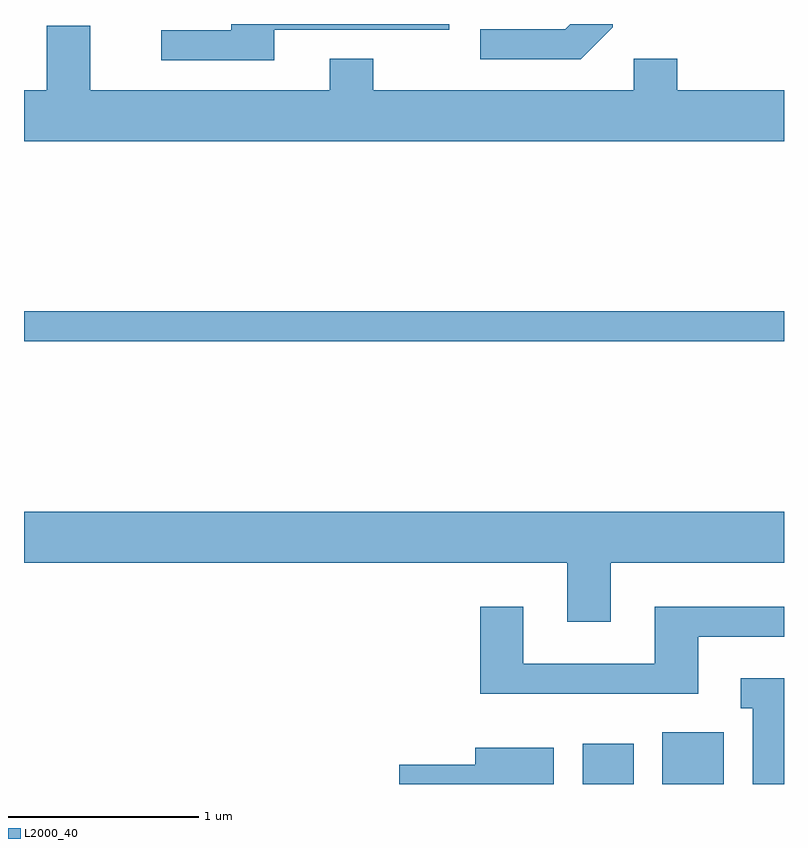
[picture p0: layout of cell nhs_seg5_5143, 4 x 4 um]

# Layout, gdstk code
import gdstk
lib = gdstk.Library(unit=1e-6, precision=1e-09)
def R(c, l, rs):  # rectangles x0, y0, x1, y1
    for r in rs: c.add(gdstk.rectangle(r[:2], r[2:], *l))
def P(c, l, *ps):  # polygons
    for p in ps: c.add(gdstk.Polygon(p, *l))
L2000_40 = (2000, 40)

nhs_seg5_5143 = lib.new_cell('nhs_seg5_5143')
R(nhs_seg5_5143, L2000_40, [(340.551,1460.072,340.819,1460.284), (340.971,1460.072,341.294,1460.344), (337.611,1462.401,341.611,1462.559)])
P(nhs_seg5_5143, L2000_40, [(340.709,1464.054),(340.709,1464.072),(340.487,1464.072),(340.459,1464.044),(340.013,1464.044),(340.013,1463.886),(340.542,1463.886)],
  [(338.929,1464.041),(339.849,1464.041),(339.849,1464.072),(338.701,1464.072),(338.701,1464.039),(338.333,1464.039),(338.333,1463.881),(338.929,1463.881)],
  [(341.611,1463.724),(341.049,1463.724),(341.049,1463.889),(340.821,1463.889),(340.821,1463.724),(339.449,1463.724),(339.449,1463.889),(339.221,1463.889),(339.221,1463.724),(337.959,1463.724),(337.959,1464.064),(337.731,1464.064),(337.731,1463.724),(337.611,1463.724),(337.611,1463.456),(341.611,1463.456)],
  [(340.699,1461.236),(341.611,1461.236),(341.611,1461.504),(337.611,1461.504),(337.611,1461.236),(340.471,1461.236),(340.471,1460.926),(340.699,1460.926)],
  [(341.159,1460.846),(341.611,1460.846),(341.611,1461.004),(340.931,1461.004),(340.931,1460.704),(340.239,1460.704),(340.239,1461.004),(340.011,1461.004),(340.011,1460.546),(341.159,1460.546)],
  [(341.611,1460.629),(341.383,1460.629),(341.383,1460.471),(341.446,1460.471),(341.446,1460.072),(341.611,1460.072)],
  [(340.399,1460.264),(339.986,1460.264),(339.986,1460.174),(339.586,1460.174),(339.586,1460.072),(340.399,1460.072)])

lib.write_gds('nhs_seg5_5143.gds')
